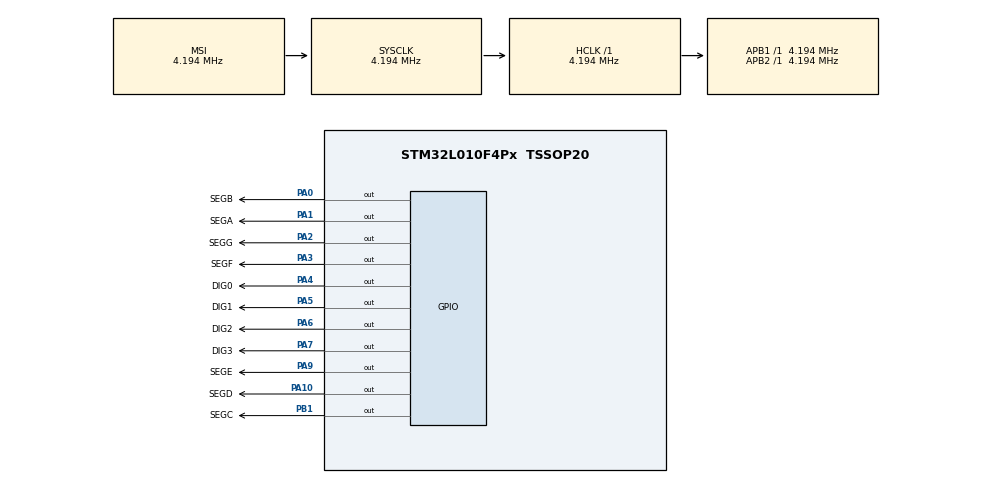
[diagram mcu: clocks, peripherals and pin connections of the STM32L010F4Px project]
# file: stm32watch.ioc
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Mcu.Family=STM32L0
Mcu.Name=STM32L010F4Px
Mcu.Package=TSSOP20
NVIC.TIM2_IRQn=true\:0\:0\:false\:false\:true\:true\:true\:true
PA0-CK_IN.GPIO_Label=SEGB
PA0-CK_IN.GPIO_ModeDefaultOutputPP=GPIO_MODE_OUTPUT_PP
PA0-CK_IN.GPIO_PuPd=GPIO_NOPULL
PA0-CK_IN.GPIO_Speed=GPIO_SPEED_FREQ_LOW
PA0-CK_IN.Signal=GPIO_Output
PA1.GPIO_Label=SEGA
PA1.GPIO_Speed=GPIO_SPEED_FREQ_LOW
PA1.Signal=GPIO_Output
PA10.GPIO_Label=SEGD
PA10.Signal=GPIO_Output
PA13.Mode=Serial_Wire
PA13.Signal=SYS_SWDIO
PA14.Mode=Serial_Wire
PA14.Signal=SYS_SWCLK
PA2.GPIO_Label=SEGG
PA2.GPIO_Speed=GPIO_SPEED_FREQ_LOW
PA2.Signal=GPIO_Output
PA3.GPIO_Label=SEGF
PA3.GPIO_Speed=GPIO_SPEED_FREQ_LOW
PA3.Signal=GPIO_Output
PA4.GPIO_Label=DIG0
PA4.Signal=GPIO_Output
PA5.GPIO_Label=DIG1
PA5.Signal=GPIO_Output
PA6.GPIO_Label=DIG2
PA6.Signal=GPIO_Output
PA7.GPIO_Label=DIG3
PA7.Signal=GPIO_Output
PA9.GPIO_Label=SEGE
PA9.Signal=GPIO_Output
PB1.GPIO_Label=SEGC
PB1.Signal=GPIO_Output
PC14-OSC32_IN.Mode=LSE-External-Oscillator
PC14-OSC32_IN.Signal=RCC_OSC32_IN
PC15-OSC32_OUT.Mode=LSE-External-Oscillator
PC15-OSC32_OUT.Signal=RCC_OSC32_OUT
ProjectManager.HeapSize=0x200
ProjectManager.StackSize=0x400
ProjectManager.TargetToolchain=STM32CubeIDE
RCC.ADCFreq_Value=4000000
RCC.AHBFreq_Value=4194000
RCC.APB1Freq_Value=4194000
RCC.APB1TimFreq_Value=4194000
RCC.APB2Freq_Value=4194000
RCC.APB2TimFreq_Value=4194000
RCC.HCLKFreq_Value=4194000
RCC.HSE_VALUE=8000000
RCC.HSI16_VALUE=16000000
RCC.HSIRCDiv=4
RCC.HSI_VALUE=4000000
RCC.MSIClockRange=RCC_MSIRANGE_6
RCC.MSI_VALUE=4194000
RCC.RTCClockSelectionVirtual=RCC_RTCCLKSOURCE_LSE
RCC.SYSCLKFreq_VALUE=4194000
RCC.VCOOutputFreq_Value=12000000
RTC.WakeUpClock-WakeUp=RTC_WAKEUPCLOCK_CK_SPRE_16BITS
TIM2.AutoReloadPreload=TIM_AUTORELOAD_PRELOAD_ENABLE
TIM2.Period=61341
TIM2.Prescaler=1
VP_RTC_VS_RTC_Activate.Mode=RTC_Enabled
VP_RTC_VS_RTC_Calendar.Mode=RTC_Calendar
VP_RTC_VS_RTC_WakeUp_intern.Mode=WakeUp
VP_TIM2_VS_ClockSourceINT.Mode=Internal
board=custom

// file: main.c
#include "main.h"

void SystemClock_Config(void);
static void MX_GPIO_Init(void);
static void MX_RTC_Init(void);
static void MX_TIM2_Init(void);

/* USER CODE BEGIN PFP */
void Set_Seg(char);
void disp_timedate(void);
void bye(void);

char disp_num[4];
int disp_digit=0;
int sw1=0;
int sw2=0;
int sw3=0;
int sw_p=15;
int sw_p3=10;
int change_stat=0;
int disp_mode=0; /* mode=0  mm:ss  1 hh:mm  2:MM:DD 3:YYYY */
int blink;
int blink_p;
int onoff;
int i_sleep=0;
int i_sleep_max=20000;

/* USER CODE END PFP */

/* USER CODE BEGIN 0 */
void HAL_TIM_PeriodElapsedCallback(TIM_HandleTypeDef *htim){
	  GPIO_InitTypeDef GPIO_InitStruct = {0};
	  int s1,s2;
  if (htim == &htim2)
  {
 	  HAL_GPIO_WritePin(GPIOA, DIG0_Pin|DIG1_Pin|DIG2_Pin|DIG3_Pin, GPIO_PIN_RESET);
 	    if (disp_digit<4){
 	    Set_Seg(disp_num[disp_digit]);
 	    }
    switch (disp_digit){
    case 3: /* case 0: */
    	HAL_GPIO_WritePin(GPIOA,DIG0_Pin, GPIO_PIN_SET);
    	break;
    case 2:/* case 1: */
    	HAL_GPIO_WritePin(GPIOA,DIG1_Pin, GPIO_PIN_SET);
    	break;
    case 1:/* case 2: */
    	HAL_GPIO_WritePin(GPIOA,DIG2_Pin, GPIO_PIN_SET);
    	break;
    case 0:/* case 3: */
    	HAL_GPIO_WritePin(GPIOA,DIG3_Pin, GPIO_PIN_SET);
    	break;
    case 4:
    	/* __disable_irq();*/
      	HAL_GPIO_WritePin(GPIOA, SEGA_Pin|SEGB_Pin|SEGD_Pin|SEGE_Pin|SEGF_Pin|SEGG_Pin, GPIO_PIN_RESET);
      	HAL_GPIO_WritePin(SEGC_GPIO_Port, SEGC_Pin, GPIO_PIN_RESET);

      	GPIO_InitStruct.Pin = SEGA_Pin|SEGB_Pin;
      	GPIO_InitStruct.Mode =  GPIO_MODE_INPUT;
      	GPIO_InitStruct.Pull = GPIO_PULLDOWN;
      	GPIO_InitStruct.Speed = GPIO_SPEED_FREQ_LOW;
      	HAL_GPIO_Init(GPIOA, &GPIO_InitStruct);

      	HAL_GPIO_WritePin(GPIOA,DIG0_Pin, GPIO_PIN_SET);
      	s1=s2=0;
      	s1=HAL_GPIO_ReadPin(GPIOA,SEGA_Pin);
      	s2=HAL_GPIO_ReadPin(GPIOA,SEGB_Pin);
        if ((s1==1)&(s2==1)) {
        	sw3++;
        	i_sleep=0;
        	sw1=sw2=0;
        } else if (s1==1) {
        	sw1++;
           	i_sleep=0;
        	sw2=sw3=0;
        } else if (s2==1) {
        	sw2++;
           	i_sleep=0;
        	sw1=sw3=0;
        }

        HAL_GPIO_WritePin(GPIOA,DIG3_Pin, GPIO_PIN_RESET);

      	GPIO_InitStruct.Pin = SEGA_Pin|SEGB_Pin;
      	GPIO_InitStruct.Mode = GPIO_MODE_OUTPUT_PP;
      	GPIO_InitStruct.Pull = GPIO_NOPULL;
      	GPIO_InitStruct.Speed = GPIO_SPEED_FREQ_LOW;
      	HAL_GPIO_Init(GPIOA, &GPIO_InitStruct);
    	/* __enable_irq(); */

    	break;

    default:
       	break;
    }

    disp_digit++;
    if (disp_digit==5) disp_digit=0;

    i_sleep++;
  }
}

void Set_Seg(char num){
	  HAL_GPIO_WritePin(GPIOA, SEGA_Pin|SEGB_Pin|SEGD_Pin|SEGE_Pin|SEGF_Pin|SEGG_Pin, GPIO_PIN_RESET);
	  HAL_GPIO_WritePin(SEGC_GPIO_Port, SEGC_Pin, GPIO_PIN_RESET);

	  if (onoff==1){
		  switch(num) {
		  case '0':
			  HAL_GPIO_WritePin(GPIOA, SEGA_Pin|SEGB_Pin|SEGD_Pin|SEGE_Pin|SEGF_Pin, GPIO_PIN_SET);
			  HAL_GPIO_WritePin(SEGC_GPIO_Port, SEGC_Pin, GPIO_PIN_SET);
			  break;
		  case '1':
			  /*HAL_GPIO_WritePin(GPIOA, SEGB_Pin, GPIO_PIN_SET);
			  HAL_GPIO_WritePin(SEGC_GPIO_Port, SEGC_Pin, GPIO_PIN_SET);*/
			  HAL_GPIO_WritePin(GPIOA, SEGE_Pin|SEGF_Pin, GPIO_PIN_SET);
			  break;
		  case '2':
			  HAL_GPIO_WritePin(GPIOA, SEGA_Pin|SEGB_Pin|SEGD_Pin|SEGE_Pin|SEGG_Pin, GPIO_PIN_SET);
			  break;
		  case '3':
			  /*HAL_GPIO_WritePin(GPIOA, SEGA_Pin|SEGB_Pin|SEGD_Pin|SEGG_Pin, GPIO_PIN_SET);
			  HAL_GPIO_WritePin(SEGC_GPIO_Port, SEGC_Pin, GPIO_PIN_SET);*/
			  HAL_GPIO_WritePin(GPIOA, SEGA_Pin|SEGD_Pin|SEGE_Pin|SEGF_Pin|SEGG_Pin, GPIO_PIN_SET);
			  break;
		  case '4':
			  /*HAL_GPIO_WritePin(GPIOA, SEGB_Pin|SEGF_Pin|SEGG_Pin, GPIO_PIN_SET);*/
			  HAL_GPIO_WritePin(GPIOA, SEGE_Pin|SEGF_Pin|SEGG_Pin, GPIO_PIN_SET);
			  HAL_GPIO_WritePin(SEGC_GPIO_Port, SEGC_Pin, GPIO_PIN_SET);
			  break;
		  case '5':
			  HAL_GPIO_WritePin(GPIOA, SEGA_Pin|SEGD_Pin|SEGF_Pin|SEGG_Pin, GPIO_PIN_SET);
			  HAL_GPIO_WritePin(SEGC_GPIO_Port, SEGC_Pin, GPIO_PIN_SET);
			  break;
		  case '6':
			  /*HAL_GPIO_WritePin(GPIOA, SEGA_Pin|SEGD_Pin|SEGE_Pin|SEGF_Pin|SEGG_Pin, GPIO_PIN_SET);*/
			  HAL_GPIO_WritePin(GPIOA, SEGA_Pin|SEGB_Pin|SEGD_Pin|SEGF_Pin|SEGG_Pin, GPIO_PIN_SET);
			  HAL_GPIO_WritePin(SEGC_GPIO_Port, SEGC_Pin, GPIO_PIN_SET);
			  break;
		  case '7':
			  /*HAL_GPIO_WritePin(GPIOA, SEGA_Pin|SEGB_Pin, GPIO_PIN_SET);
			  HAL_GPIO_WritePin(SEGC_GPIO_Port, SEGC_Pin, GPIO_PIN_SET);*/
			  HAL_GPIO_WritePin(GPIOA, SEGD_Pin|SEGE_Pin|SEGF_Pin, GPIO_PIN_SET);
			  break;
		  case '8':
			  HAL_GPIO_WritePin(GPIOA, SEGA_Pin|SEGB_Pin|SEGD_Pin|SEGE_Pin|SEGF_Pin|SEGG_Pin, GPIO_PIN_SET);
			  HAL_GPIO_WritePin(SEGC_GPIO_Port, SEGC_Pin, GPIO_PIN_SET);
			  break;
		  case '9':
			  /*HAL_GPIO_WritePin(GPIOA, SEGA_Pin|SEGB_Pin|SEGD_Pin|SEGF_Pin|SEGG_Pin, GPIO_PIN_SET);*/
			  HAL_GPIO_WritePin(GPIOA, SEGA_Pin|SEGD_Pin|SEGE_Pin|SEGF_Pin|SEGG_Pin, GPIO_PIN_SET);
			  HAL_GPIO_WritePin(SEGC_GPIO_Port, SEGC_Pin, GPIO_PIN_SET);
			  break;
		  case ':':
			  break;
		  case 'B':
			  HAL_GPIO_WritePin(GPIOA, SEGA_Pin|SEGB_Pin|SEGF_Pin|SEGG_Pin, GPIO_PIN_SET);
			  HAL_GPIO_WritePin(SEGC_GPIO_Port, SEGC_Pin, GPIO_PIN_SET);
			  break;
		  case 'E':
			  HAL_GPIO_WritePin(GPIOA, SEGA_Pin|SEGB_Pin|SEGD_Pin|SEGG_Pin, GPIO_PIN_SET);
			  HAL_GPIO_WritePin(SEGC_GPIO_Port, SEGC_Pin, GPIO_PIN_SET);
			  break;
		  case 'T':
			  HAL_GPIO_WritePin(GPIOA, SEGA_Pin|SEGB_Pin|SEGG_Pin, GPIO_PIN_SET);
			  HAL_GPIO_WritePin(SEGC_GPIO_Port, SEGC_Pin, GPIO_PIN_SET);
			  break;
		  case 'Y':
			  /*HAL_GPIO_WritePin(GPIOA, SEGB_Pin|SEGD_Pin|SEGF_Pin|SEGG_Pin, GPIO_PIN_SET);*/
			  HAL_GPIO_WritePin(GPIOA, SEGA_Pin|SEGE_Pin|SEGF_Pin|SEGG_Pin, GPIO_PIN_SET);
			  HAL_GPIO_WritePin(SEGC_GPIO_Port, SEGC_Pin, GPIO_PIN_SET);
			  break;
		  case 'o':
			  HAL_GPIO_WritePin(GPIOA, SEGA_Pin|SEGB_Pin|SEGF_Pin|SEGG_Pin, GPIO_PIN_SET);
			  break;
		  case 'O':
			  HAL_GPIO_WritePin(GPIOA, SEGD_Pin|SEGE_Pin|SEGG_Pin, GPIO_PIN_SET);
			  HAL_GPIO_WritePin(SEGC_GPIO_Port, SEGC_Pin, GPIO_PIN_SET);
			  break;
		  case ' ':
			  break;
		  default:
			  break;
		  }
	  }

	  blink++;
	  if (blink_p>0){
		  if (blink>blink_p){
			  blink = 0;
			  onoff = 1 - onoff;
		  }
	  } else {
		  onoff = 1;
	  }
}

void disp_timedate(void)
{

    RTC_DateTypeDef date;
    RTC_TimeTypeDef time;

    uint8_t  mm,ss;

    HAL_RTC_GetTime(&hrtc, &time, RTC_FORMAT_BCD);
    HAL_RTC_GetDate(&hrtc, &date, RTC_FORMAT_BCD);

    switch (disp_mode){
    case 0:
        mm = time.Hours;
       	ss = time.Minutes;
    	break;
    case 1:
        mm = time.Minutes;
       	ss = time.Seconds;
    	break;
    case 2:
    	mm= date.Month;
    	if ((mm>>4)==0) mm=0b10100000 | (mm & 0x0f);
    	ss = date.Date;
    	if ((ss>>4)==0) ss=0b10100000 | (ss & 0x0f);
    	break;
    case 3:
    	mm=0b00100000;
    	ss=date.Year;
    	break;
    default:
    	mm=0;
    	ss=0;
    	break;
    }

   	disp_num[2] = '0' + (mm & 0x0f);
   	mm >>= 4;
   	disp_num[3] = '0' + mm ;

   	disp_num[0] = '0' + (ss & 0x0f);
   	ss >>= 4;
   	disp_num[1] = '0' + ss ;

}

void bye(void)
{
	char msg[10]={' ',' ',' ','B','Y','E',' ',' ',' ',' '};

    if (i_sleep>i_sleep_max) {
    	for (uint8_t i=0; i<7; i++){
    		for (uint8_t j=3; j>0; j--){
    			disp_num[j]=disp_num[j-1];
    		}
    		disp_num[0] = msg[i];
    		HAL_Delay(200);
    	}
  	HAL_Delay(1000);
    HAL_PWR_EnterSTANDBYMode();
    }
}

void time_correction()
{
	int8_t loop=0;
	int8_t s_hour, s_minute, s_second, s_month, s_date, s_year, sec_old;

	RTC_TimeTypeDef sTime = {0};
	RTC_DateTypeDef sDate = {0};

	HAL_RTC_GetTime(&hrtc, &sTime, RTC_FORMAT_BCD);
	HAL_RTC_GetDate(&hrtc, &sDate, RTC_FORMAT_BCD);

	s_hour = (sTime.Hours & 0x0f) + 10* (sTime.Hours>>4);
	s_minute = (sTime.Minutes & 0x0f) + 10* (sTime.Minutes>>4);
	s_second = (sTime.Seconds & 0x0f) + 10* (sTime.Seconds>>4);
	s_month = (sDate.Month & 0x0f) + 10* (sDate.Month>>4);
	s_date = (sDate.Date & 0x0f) + 10* (sDate.Date>>4);
	s_year = (sDate.Year & 0x0f) + 10* (sDate.Year>>4);
	sec_old = s_second;

	while (loop==0){
		HAL_Delay(100);

		HAL_RTC_GetTime(&hrtc, &sTime, RTC_FORMAT_BCD);
		HAL_RTC_GetDate(&hrtc, &sDate, RTC_FORMAT_BCD);

		s_hour = (sTime.Hours & 0x0f) + 10* (sTime.Hours>>4);
		s_minute = (sTime.Minutes & 0x0f) + 10* (sTime.Minutes>>4);
		s_second = (sTime.Seconds & 0x0f) + 10* (sTime.Seconds>>4);
		s_month = (sDate.Month & 0x0f) + 10* (sDate.Month>>4);
		s_date = (sDate.Date & 0x0f) + 10* (sDate.Date>>4);
		s_year = (sDate.Year & 0x0f) + 10* (sDate.Year>>4);

		if (s_second != sec_old){
			HAL_Delay(1000);
			s_second += 1;
			if (s_second > 59){
				s_second = 0;
				s_minute += 1;
			}
			if (s_minute > 59){
				s_minute = 0;
				s_hour += 1;
			}
			if (s_hour > 23){
				s_hour = 0;
				s_date += 1;
			}

			sTime.Hours = s_hour;
			sTime.Minutes = s_minute;
			sTime.Seconds = s_second;
			HAL_RTC_SetTime(&hrtc, &sTime, RTC_FORMAT_BIN);
			sDate.WeekDay = RTC_WEEKDAY_WEDNESDAY;
			sDate.Month = s_month;
			sDate.Date = s_date;
			sDate.Year = s_year;
			HAL_RTC_SetDate(&hrtc, &sDate, RTC_FORMAT_BIN);
			loop=1;
		}
		sec_old = s_second;
	}
}

int main(void)
{

 RTC_TimeTypeDef sTime = {0};
 RTC_DateTypeDef sDate = {0};

 uint8_t set_mode, set_point, ss, date_max;
 int8_t s_hour, s_minute, s_month, s_date, s_year, inc;

  /* Reset of all peripherals, Initializes the Flash interface and the Systick. */
  HAL_Init();

  /* Configure the system clock */
  SystemClock_Config();

  /* Initialize all configured peripherals */
  MX_GPIO_Init();
  MX_RTC_Init();
  MX_TIM2_Init();

  HAL_TIM_Base_Start_IT(&htim2);

  blink_p=200;
  blink=0;
  onoff=1;
  set_mode=0;

  while (1)
  {

	    while (set_mode==0){ /* time display mode */
	    	blink_p=0;
	    	if (sw3>sw_p3) {
	    		set_mode=1;
	    		set_point=0;
	    		sw3=0;

	    	    HAL_RTC_GetTime(&hrtc, &sTime, RTC_FORMAT_BCD);
	    	    HAL_RTC_GetDate(&hrtc, &sDate, RTC_FORMAT_BCD);

	    		s_hour = (sTime.Hours & 0x0f) + 10* (sTime.Hours>>4);
	    		s_minute = (sTime.Minutes & 0x0f) + 10* (sTime.Minutes>>4);
	    		s_month = (sDate.Month & 0x0f) + 10* (sDate.Month>>4);
	    		s_date = (sDate.Date & 0x0f) + 10* (sDate.Date>>4);
	    		s_year = (sDate.Year & 0x0f) + 10* (sDate.Year>>4);
	    	}
	    	if(sw1>sw_p) {
	    		disp_mode++;
	    		sw1 = 0;
	    	}
	    	if(sw2>sw_p){
	    		disp_mode++;
	    		sw2 = 0;
	    	}
	    	if(disp_mode>3) disp_mode=0;
	    	if(disp_mode<0) disp_mode=3;

	    	disp_timedate();
	    	HAL_Delay(100);

	    	bye();

	    }

	    while (set_mode==1){
	    	if (sw3>sw_p3) {
	    		set_point++;
	    		sw1 = sw2 = 0;
	    		sw3 = 0;
	    	} else if (sw1>sw_p) {
	    		inc = 1;
	    		sw1 = 0;
	    	} else if (sw2>sw_p) {
	    		inc = -1;
	    		sw2 = 0;
	    	} else inc = 0;

	    	blink_p = 200;

	    	switch (set_point){
	    	case 0: /* Year */
	    		s_year += inc;
	    		if (s_year > 99) s_year = 0;
	    		if (s_year < 0 ) s_year = 99;
	    		disp_num[3] = 'Y';
	    		disp_num[2] = ' ';
	    		ss = s_year;
	    		break;

	    	case 1: /* Month */
	    		s_month += inc;
	    		if (s_month > 12) s_month = 1;
	    		if (s_month < 1 ) s_month = 12;
	    		disp_num[3] = 'O';
	    		disp_num[2] = ' ';
	    		ss = s_month;
	    		break;

	    	case 2: /* Date */
		    	s_date += inc;
		    	switch (s_month){
		    	case 1:
		    	case 3:
		    	case 5:
		    	case 7:
		    	case 8:
		    	case 10:
		    	case 12:
		    		date_max = 31;
		    		break;
		    	case 4:
		    	case 6:
		    	case 9:
		    	case 11:
		    		date_max = 30;
		    		break;
		    	case 2:
		    		date_max = 29;
		    		break;
		    	}
		    	if (s_date > date_max) s_date = 1;
		    	if (s_date < 1) s_date = date_max;
		    	disp_num[3] = 'o';
	    		disp_num[2] = ' ';
	    		ss = s_date;
	    		break;

	    	case 3: /* Hour */
	    		s_hour += inc;
			    if (s_hour > 23) s_hour = 0;
			    if (s_hour < 0 ) s_hour = 23;
	    		disp_num[3] = ' ';
	    		disp_num[2] = 'O';
	    		ss = s_hour;
	    		break;

	    	case 4: /* Minute */
	    		s_minute += inc;
		    	if (s_minute > 59) s_minute = 0;
		    	if (s_minute < 0 ) s_minute = 59;
	    		disp_num[3] = ' ';
	    		disp_num[2] = 'o';
	    		ss = s_minute;
	    		break;

	    	case 5:
	    		set_mode = 0;
	    		/* RTC set */
	    		sTime.Hours = s_hour;
	    		sTime.Minutes = s_minute;
	    		sTime.Seconds = 0;
	    		HAL_RTC_SetTime(&hrtc, &sTime, RTC_FORMAT_BIN);
	    	    sDate.WeekDay = RTC_WEEKDAY_WEDNESDAY;
	       	    sDate.Month = s_month;
	      	    sDate.Date = s_date;
	      	    sDate.Year = s_year;
	      	    HAL_RTC_SetDate(&hrtc, &sDate, RTC_FORMAT_BIN);

		    	blink_p=0;

	    		disp_num[3] = '5';
	    		disp_num[2] = 'E';
	    		disp_num[1] = 'T';
	    		disp_num[0] = ' ';
		    	HAL_Delay(600);
	      	    break;

	    	default:
	    		break;
	    	}

	    	if (set_mode == 1) {
	    		disp_num[0] = '0' + (ss % 10 );
	    		ss /= 10;
	    		if (ss==0) {
	    			disp_num[1] = ' ';
	    		} else {
	    			disp_num[1] = '0' + ss ;
	    		}
	    	}
	    	HAL_Delay(200);

	    	bye();

	    }
  }
}

void SystemClock_Config(void)
{
  RCC_OscInitTypeDef RCC_OscInitStruct = {0};
  RCC_ClkInitTypeDef RCC_ClkInitStruct = {0};
  RCC_PeriphCLKInitTypeDef PeriphClkInit = {0};

  /** Configure the main internal regulator output voltage
  */
  __HAL_PWR_VOLTAGESCALING_CONFIG(PWR_REGULATOR_VOLTAGE_SCALE1);

  /** Configure LSE Drive Capability
  */
  HAL_PWR_EnableBkUpAccess();
  __HAL_RCC_LSEDRIVE_CONFIG(RCC_LSEDRIVE_LOW);

  /** Initializes the RCC Oscillators according to the specified parameters
  * in the RCC_OscInitTypeDef structure.
  */
  RCC_OscInitStruct.OscillatorType = RCC_OSCILLATORTYPE_LSE|RCC_OSCILLATORTYPE_MSI;
  RCC_OscInitStruct.LSEState = RCC_LSE_ON;
  RCC_OscInitStruct.MSIState = RCC_MSI_ON;
  RCC_OscInitStruct.MSICalibrationValue = 0;
  RCC_OscInitStruct.MSIClockRange = RCC_MSIRANGE_6;
  RCC_OscInitStruct.PLL.PLLState = RCC_PLL_NONE;
  if (HAL_RCC_OscConfig(&RCC_OscInitStruct) != HAL_OK)
  {
    Error_Handler();
  }

  /** Initializes the CPU, AHB and APB buses clocks
  */
  RCC_ClkInitStruct.ClockType = RCC_CLOCKTYPE_HCLK|RCC_CLOCKTYPE_SYSCLK
                              |RCC_CLOCKTYPE_PCLK1|RCC_CLOCKTYPE_PCLK2;
  RCC_ClkInitStruct.SYSCLKSource = RCC_SYSCLKSOURCE_MSI;
  RCC_ClkInitStruct.AHBCLKDivider = RCC_SYSCLK_DIV1;
  RCC_ClkInitStruct.APB1CLKDivider = RCC_HCLK_DIV1;
  RCC_ClkInitStruct.APB2CLKDivider = RCC_HCLK_DIV1;

  if (HAL_RCC_ClockConfig(&RCC_ClkInitStruct, FLASH_LATENCY_0) != HAL_OK)
  {
    Error_Handler();
  }
  PeriphClkInit.PeriphClockSelection = RCC_PERIPHCLK_RTC;
  PeriphClkInit.RTCClockSelection = RCC_RTCCLKSOURCE_LSE;
  if (HAL_RCCEx_PeriphCLKConfig(&PeriphClkInit) != HAL_OK)
  {
    Error_Handler();
  }
}

static void MX_RTC_Init(void)
{

  /** Initialize RTC Only
  */
  hrtc.Instance = RTC;
  hrtc.Init.HourFormat = RTC_HOURFORMAT_24;
  hrtc.Init.AsynchPrediv = 127;
  hrtc.Init.SynchPrediv = 255;
  hrtc.Init.OutPut = RTC_OUTPUT_DISABLE;
  hrtc.Init.OutPutRemap = RTC_OUTPUT_REMAP_NONE;
  hrtc.Init.OutPutPolarity = RTC_OUTPUT_POLARITY_HIGH;
  hrtc.Init.OutPutType = RTC_OUTPUT_TYPE_OPENDRAIN;

  if ((RCC->CSR & RCC_CSR_RTCEN)==0)
    {
       if(HAL_RTC_Init(&hrtc)!=HAL_OK)
       {
          Error_Handler();
        }
    }
    else//RTC初期化済の場合
    {
    	HAL_RTC_MspInit(&hrtc);

    }

  /* USER CODE BEGIN Check_RTC_BKUP */
#define MAGIC_NO 0x12a5

  if(HAL_RTCEx_BKUPRead(&hrtc, RTC_BKP_DR0) != MAGIC_NO)
  {
    RTC_TimeTypeDef sTime = {0};
    RTC_DateTypeDef sDate = {0};

    sTime.Hours = 22;
    sTime.Minutes = 11;
    sTime.Seconds = 0;
    if (HAL_RTC_SetTime(&hrtc, &sTime, RTC_FORMAT_BIN) != HAL_OK)
    {
      Error_Handler();
    }
    sDate.WeekDay = RTC_WEEKDAY_WEDNESDAY;
    sDate.Month = RTC_MONTH_JULY;
    sDate.Date = 4;
    sDate.Year = 24;
    if (HAL_RTC_SetDate(&hrtc, &sDate, RTC_FORMAT_BIN) != HAL_OK)
    {
      Error_Handler();
    }
    HAL_RTCEx_BKUPWrite(&hrtc, RTC_BKP_DR0, MAGIC_NO);
  }
  /* RTC calibration  CALP=1 CALM=378=0b101111010 +127.8 ppm */
  /*
  RTC->WPR = 0xCA;
  RTC->WPR = 0x53;

  RTC->CALR = RTC_CALR_CALP|RTC_CALR_CALM_1|RTC_CALR_CALM_3|RTC_CALR_CALM_4|
		       RTC_CALR_CALM_5|RTC_CALR_CALM_6|RTC_CALR_CALM_8 ;

  RTC->WPR = 0xFE;
  RTC->WPR = 0x64;
  */
  /* USER CODE END Check_RTC_BKUP */

  /** Initialize RTC and set the Time and Date

  sTime.Hours = 0x0;
  sTime.Minutes = 0x0;
  sTime.Seconds = 0x0;
  sTime.DayLightSaving = RTC_DAYLIGHTSAVING_NONE;
  sTime.StoreOperation = RTC_STOREOPERATION_RESET;
  if (HAL_RTC_SetTime(&hrtc, &sTime, RTC_FORMAT_BCD) != HAL_OK)
  {
    Error_Handler();
  }
  sDate.WeekDay = RTC_WEEKDAY_MONDAY;
  sDate.Month = RTC_MONTH_JANUARY;
  sDate.Date = 0x1;
  sDate.Year = 0x0;

  if (HAL_RTC_SetDate(&hrtc, &sDate, RTC_FORMAT_BCD) != HAL_OK)
  {
    Error_Handler();
  }
 */
  /** Enable the WakeUp
  */
  /*if (HAL_RTCEx_SetWakeUpTimer(&hrtc, 0, RTC_WAKEUPCLOCK_CK_SPRE_16BITS) != HAL_OK)
  {
    Error_Handler();
  }*/

}

static void MX_TIM2_Init(void)
{

  TIM_ClockConfigTypeDef sClockSourceConfig = {0};
  TIM_MasterConfigTypeDef sMasterConfig = {0};

  htim2.Instance = TIM2;
  htim2.Init.Prescaler = 0;
  htim2.Init.CounterMode = TIM_COUNTERMODE_UP;
  htim2.Init.Period = 4196;
  htim2.Init.ClockDivision = TIM_CLOCKDIVISION_DIV1;
  htim2.Init.AutoReloadPreload = TIM_AUTORELOAD_PRELOAD_ENABLE;
  if (HAL_TIM_Base_Init(&htim2) != HAL_OK)
  {
    Error_Handler();
  }
  sClockSourceConfig.ClockSource = TIM_CLOCKSOURCE_INTERNAL;
  if (HAL_TIM_ConfigClockSource(&htim2, &sClockSourceConfig) != HAL_OK)
  {
    Error_Handler();
  }
  sMasterConfig.MasterOutputTrigger = TIM_TRGO_RESET;
  sMasterConfig.MasterSlaveMode = TIM_MASTERSLAVEMODE_DISABLE;
  if (HAL_TIMEx_MasterConfigSynchronization(&htim2, &sMasterConfig) != HAL_OK)
  {
    Error_Handler();
  }

}

static void MX_GPIO_Init(void)
{
  GPIO_InitTypeDef GPIO_InitStruct = {0};

  /* GPIO Ports Clock Enable */
  __HAL_RCC_GPIOC_CLK_ENABLE();
  __HAL_RCC_GPIOA_CLK_ENABLE();
  __HAL_RCC_GPIOB_CLK_ENABLE();

  /*Configure GPIO pin Output Level */
  HAL_GPIO_WritePin(GPIOA, SEGB_Pin|SEGA_Pin|SEGG_Pin|SEGF_Pin
                          |DIG0_Pin|DIG1_Pin|DIG2_Pin|DIG3_Pin
                          |SEGE_Pin|SEGD_Pin, GPIO_PIN_RESET);

  /*Configure GPIO pin Output Level */
  HAL_GPIO_WritePin(SEGC_GPIO_Port, SEGC_Pin, GPIO_PIN_RESET);

  /*Configure GPIO pins : SEGB_Pin SEGA_Pin SEGG_Pin SEGF_Pin
                           DIG0_Pin DIG1_Pin DIG2_Pin DIG3_Pin
                           SEGE_Pin SEGD_Pin */
  GPIO_InitStruct.Pin = SEGB_Pin|SEGA_Pin|SEGG_Pin|SEGF_Pin
                          |DIG0_Pin|DIG1_Pin|DIG2_Pin|DIG3_Pin
                          |SEGE_Pin|SEGD_Pin;
  GPIO_InitStruct.Mode = GPIO_MODE_OUTPUT_PP;
  GPIO_InitStruct.Pull = GPIO_NOPULL;
  GPIO_InitStruct.Speed = GPIO_SPEED_FREQ_LOW;
  HAL_GPIO_Init(GPIOA, &GPIO_InitStruct);

  /*Configure GPIO pin : SEGC_Pin */
  GPIO_InitStruct.Pin = SEGC_Pin;
  GPIO_InitStruct.Mode = GPIO_MODE_OUTPUT_PP;
  GPIO_InitStruct.Pull = GPIO_NOPULL;
  GPIO_InitStruct.Speed = GPIO_SPEED_FREQ_LOW;
  HAL_GPIO_Init(SEGC_GPIO_Port, &GPIO_InitStruct);

}

void Error_Handler(void)
{
  __disable_irq();
  while (1)
  {
  }
}
